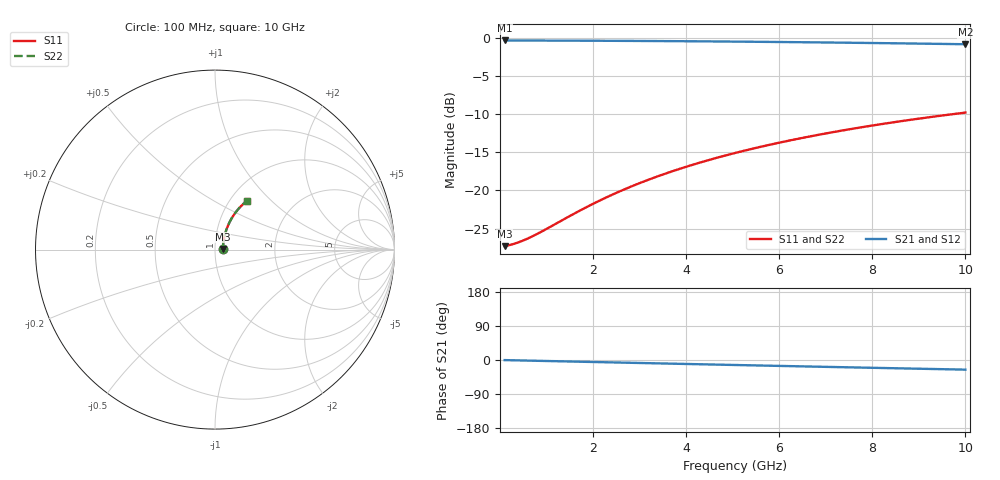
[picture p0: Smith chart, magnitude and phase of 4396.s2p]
# Hz S RI R 50.00
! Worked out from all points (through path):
!   100 points, 100 MHz to 10 GHz, reference 50 ohm
!   highest |S21| = -0.38 dB at 100 MHz (marker M1); lowest = -0.9 dB at 10 GHz (marker M2)
!   group delay of S21, straight-line fit = 7.08 ps
!   lowest |S11| = -27.3 dB at 100 MHz (marker M3), VSWR 1.09, Z = 54.5 + j0.353 ohm
!   |S11| at or under -10 dB: start of sweep to 9.767 GHz
!   |S22| runs from -27.3 to -9.8 dB; largest |S21 - S12| = 0
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1e8  0.043 0.00323  0.957 -0.0044  0.957 -0.0044  0.043 0.00323
3e8  0.0436 0.00969  0.9564 -0.0132  0.9564 -0.0132  0.0436 0.00969
4e8  0.0438 0.0129  0.9561 -0.0176  0.9561 -0.0176  0.0438 0.0129
5e8  0.0441 0.0161  0.9559 -0.022  0.9559 -0.022  0.0441 0.0161
7e8  0.0447 0.0226  0.9553 -0.0307  0.9553 -0.0307  0.0447 0.0226
9e8  0.0454 0.029  0.9546 -0.0395  0.9546 -0.0395  0.0454 0.029
1.5e9  0.0479 0.0481  0.9519 -0.0656  0.9519 -0.0656  0.0479 0.0481
1.8e9  0.0495 0.0576  0.9502 -0.0786  0.9502 -0.0786  0.0495 0.0576
2.2e9  0.0521 0.0702  0.9476 -0.0959  0.9476 -0.0959  0.0521 0.0702
2.6e9  0.055 0.0826  0.9445 -0.113  0.9445 -0.113  0.055 0.0826
3e9  0.0584 0.0949  0.9409 -0.13  0.9409 -0.13  0.0584 0.0949
3.4e9  0.0623 0.1071  0.9369 -0.1468  0.9369 -0.1468  0.0623 0.1071
3.8e9  0.0665 0.119  0.9325 -0.1635  0.9325 -0.1635  0.0665 0.119
4.2e9  0.0711 0.1308  0.9276 -0.1799  0.9276 -0.1799  0.0711 0.1308
4.6e9  0.0762 0.1423  0.9223 -0.1961  0.9223 -0.1961  0.0762 0.1423
5.1e9  0.083 0.1564  0.9151 -0.2161  0.9151 -0.2161  0.083 0.1564
5.9e9  0.0952 0.1781  0.9023 -0.2473  0.9023 -0.2473  0.0952 0.1781
6.7e9  0.1087 0.1988  0.8881 -0.2773  0.8881 -0.2773  0.1087 0.1988
7.5e9  0.1235 0.2182  0.8725 -0.3062  0.8725 -0.3062  0.1235 0.2182
8.4e9  0.1415 0.2385  0.8535 -0.3371  0.8535 -0.3371  0.1415 0.2385
9.2e9  0.1585 0.2551  0.8355 -0.3633  0.8355 -0.3633  0.1585 0.2551
1e10  0.1763 0.2703  0.8165 -0.388  0.8165 -0.388  0.1763 0.2703
